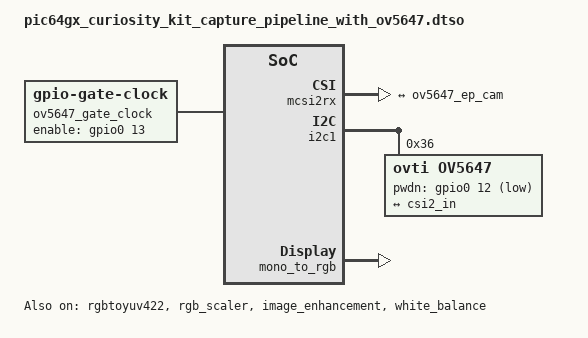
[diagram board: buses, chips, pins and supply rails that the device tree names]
// SPDX-License-Identifier: (GPL-2.0+ OR MIT)
/*
 * Device Tree Overlay Example for media capture pipeline
 *
 * Copyright (C) 2025 Microchip Technology Inc. and its subsidiaries.
 * Author: Shravan Chippa <shravan.chippa@microchip.com>
 *
 */

/dts-v1/;
/plugin/;

#include <dt-bindings/gpio/gpio.h>

/ {
	compatible = "microchip,pic64gx-curiosity-kit", "microchip,pic64gx";
};

&{/} {
	ov5647_clk: ov5647-clk {
		compatible = "fixed-clock";
		#clock-cells = <0>;
		clock-frequency = <25000000>;
	};

	ov5647_gate_clock: ov5647-gate-clock {
		compatible = "gpio-gate-clock";
		clocks = <&ov5647_clk>;
		#clock-cells = <0>;
		enable-gpios = <&gpio0 13 GPIO_ACTIVE_HIGH>;
		status = "okay";
	};
};

&mcsi2rx {

	status = "okay";


	ports {
		#address-cells = <1>;
		#size-cells = <0>;

		port@0 {
			reg = <0>;
			csi2_in: endpoint {
				data-lanes = <1 2>;
				remote-endpoint = <&ov5647_ep_cam>;
			};
		};
	};
};

&i2c1 {
	#address-cells = <1>;
	#size-cells = <0>;

	ov5647: sensor@36 {
		compatible = "ovti,ov5647";
		reg = <0x36>;
		pwdn-gpios = <&gpio0 12 GPIO_ACTIVE_LOW>;
		clocks = <&ov5647_gate_clock>;
		assigned-clocks = <&ov5647_gate_clock>;
		status = "okay";

		port {
			ov5647_ep_cam: endpoint {
				remote-endpoint = <&csi2_in>;
				data-lanes = <1 2>;
				link-frequencies = /bits/ 64 <450000000>;
			};
		};
	};
};

&mchp_vdma_cam {
	status = "okay";
};

&rgbtoyuv422 {
	status = "okay";
};

&rgb_scaler {
	status = "okay";
};

&image_enhancement {
	status = "okay";
};

&white_balance {
	status = "okay";
};

&mono_to_rgb {
	status = "okay";
};
